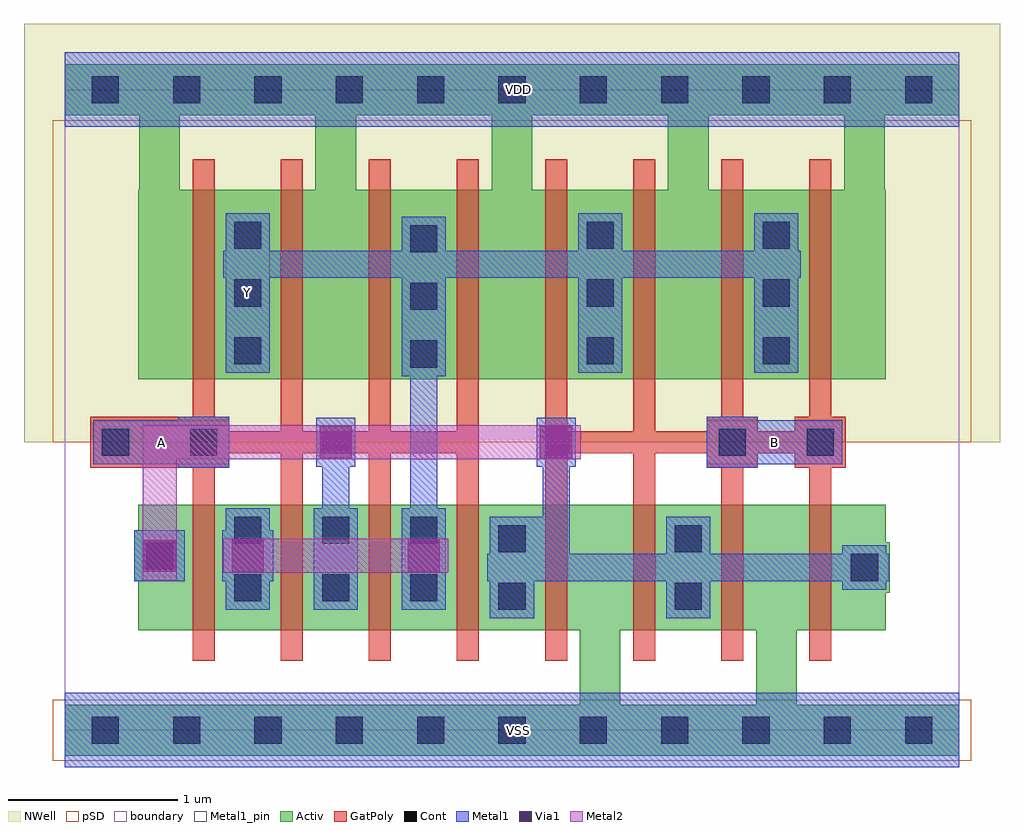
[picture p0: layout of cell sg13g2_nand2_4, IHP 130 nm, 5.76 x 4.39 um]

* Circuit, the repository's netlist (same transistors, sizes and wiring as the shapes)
.SUBCKT sg13g2_nand2_4 Y A B VDD VSS
*.PININFO A:I B:I Y:O VDD:B VSS:B
MP1 Y B VDD VDD sg13_lv_pmos w=4.48u l=130.00n ng=4
MP0 Y A VDD VDD sg13_lv_pmos w=4.48u l=130.00n ng=4
MN1 net1 B VSS VSS sg13_lv_nmos w=2.96u l=130.00n ng=4
MN0 Y A net1 VSS sg13_lv_nmos w=2.96u l=130.00n ng=4
.ENDS

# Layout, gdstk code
import gdstk
lib = gdstk.Library(unit=1e-6, precision=1e-09)
def R(c, l, rs):  # rectangles x0, y0, x1, y1
    for r in rs: c.add(gdstk.rectangle(r[:2], r[2:], *l))
def A(c, l, x, y, w, h, nx, ny, dx, dy):  # array of equal rectangles
    R(c, l, [(x+i*dx, y+j*dy, x+i*dx+w, y+j*dy+h) for i in range(nx) for j in range(ny)])
def P(c, l, *ps):  # polygons
    for p in ps: c.add(gdstk.Polygon(p, *l))
Activ = (1, 0)
GatPoly = (5, 0)
Cont = (6, 0)
Metal1 = (8, 0)
Metal1_pin = (8, 2)
Metal2 = (10, 0)
pSD = (14, 0)
Via1 = (19, 0)
NWell = (31, 0)
boundary = (189, 4)

sg13g2_nand2_4 = lib.new_cell('sg13g2_nand2_4')
P(sg13g2_nand2_4, Activ, [(3.04,0.15),(0,0.15),(0,-0.15),(5.28,-0.15),(5.28,0.15),(3.04,0.15),(3.28,0.15),(3.28,0.59),(4.08,0.59),(4.08,0.15),(4.32,0.15),(4.32,0.59),(4.845,0.59),(4.845,0.81),(4.87,0.81),(4.87,1.11),(4.845,1.11),(4.845,1.33),(0.435,1.33),(0.435,1.18),(0.41,1.18),(0.41,0.88),(0.435,0.88),(0.435,0.59),(3.04,0.59)],
  [(0.44,3.19),(0.68,3.19),(0.68,3.63),(1.48,3.63),(1.48,3.19),(1.72,3.19),(1.72,3.63),(2.52,3.63),(2.52,3.19),(2.76,3.19),(2.76,3.63),(3.56,3.63),(3.56,3.19),(3.8,3.19),(3.8,3.63),(4.6,3.63),(4.6,3.19),(4.84,3.19),(4.84,3.63),(5.28,3.63),(5.28,3.93),(0,3.93),(0,3.63),(0.44,3.63),(0.44,3.19),(0.435,3.19),(0.435,2.07),(4.845,2.07),(4.845,3.19)])
P(sg13g2_nand2_4, GatPoly, [(0.15,1.55),(0.755,1.55),(0.755,0.41),(0.885,0.41),(0.885,1.55),(0.97,1.55),(0.97,1.635),(1.275,1.635),(1.275,0.41),(1.405,0.41),(1.405,1.635),(1.795,1.635),(1.795,0.41),(1.925,0.41),(1.925,1.635),(2.315,1.635),(2.315,0.41),(2.445,0.41),(2.445,3.37),(2.315,3.37),(2.315,1.765),(1.925,1.765),(1.925,3.37),(1.795,3.37),(1.795,1.765),(1.405,1.765),(1.405,3.37),(1.275,3.37),(1.275,1.765),(0.97,1.765),(0.97,1.85),(0.885,1.85),(0.885,3.37),(0.755,3.37),(0.755,1.85),(0.15,1.85)],
  [(2.835,0.41),(2.965,0.41),(2.965,1.635),(3.355,1.635),(3.355,0.41),(3.485,0.41),(3.485,1.635),(3.79,1.635),(3.79,1.55),(3.875,1.55),(3.875,0.41),(4.005,0.41),(4.005,1.55),(4.09,1.55),(4.09,1.635),(4.31,1.635),(4.31,1.55),(4.395,1.55),(4.395,0.41),(4.525,0.41),(4.525,1.55),(4.61,1.55),(4.61,1.85),(4.525,1.85),(4.525,3.37),(4.395,3.37),(4.395,1.85),(4.31,1.85),(4.31,1.765),(4.09,1.765),(4.09,1.85),(4.005,1.85),(4.005,3.37),(3.875,3.37),(3.875,1.85),(3.79,1.85),(3.79,1.765),(3.485,1.765),(3.485,3.37),(3.355,3.37),(3.355,1.765),(2.965,1.765),(2.965,3.37),(2.835,3.37)])
A(sg13g2_nand2_4, Cont, 0.16, -0.08, 0.16, 0.16, 11, 2, 0.48, 3.78)
A(sg13g2_nand2_4, Cont, 1, 0.76, 0.16, 0.16, 3, 2, 0.52, 0.34)
A(sg13g2_nand2_4, Cont, 2.04, 2.14, 0.16, 0.16, 1, 3, 0, 0.34)
A(sg13g2_nand2_4, Cont, 1, 2.16, 0.16, 0.16, 1, 3, 0, 0.34)
A(sg13g2_nand2_4, Cont, 3.08, 2.16, 0.16, 0.16, 1, 3, 0, 0.34)
A(sg13g2_nand2_4, Cont, 4.12, 2.16, 0.16, 0.16, 1, 3, 0, 0.34)
R(sg13g2_nand2_4, Cont, [(2.56,0.71,2.72,0.87), (3.6,0.71,3.76,0.87), (4.64,0.88,4.8,1.04), (0.48,0.95,0.64,1.11), (2.56,1.05,2.72,1.21), (3.6,1.05,3.76,1.21), (0.22,1.62,0.38,1.78), (0.74,1.62,0.9,1.78), (3.86,1.62,4.02,1.78), (4.38,1.62,4.54,1.78)])
R(sg13g2_nand2_4, Metal1, [(0,-0.22,5.28,0.22), (0.41,0.88,0.71,1.18), (0,3.56,5.28,4)])
P(sg13g2_nand2_4, Metal1, [(0.17,1.57),(0.67,1.57),(0.67,1.55),(0.97,1.55),(0.97,1.85),(0.67,1.85),(0.67,1.83),(0.17,1.83)],
  [(0.93,0.88),(0.95,0.88),(0.95,0.71),(1.21,0.71),(1.21,0.88),(1.23,0.88),(1.23,1.18),(1.21,1.18),(1.21,1.31),(0.95,1.31),(0.95,1.18),(0.93,1.18)],
  [(0.935,2.67),(0.95,2.67),(0.95,2.11),(1.21,2.11),(1.21,2.67),(1.99,2.67),(1.99,2.09),(2.04,2.09),(2.04,1.31),(1.99,1.31),(1.99,0.71),(2.25,0.71),(2.25,1.31),(2.2,1.31),(2.2,2.09),(2.25,2.09),(2.25,2.67),(3.03,2.67),(3.03,2.11),(3.29,2.11),(3.29,2.67),(4.07,2.67),(4.07,2.11),(4.33,2.11),(4.33,2.67),(4.345,2.67),(4.345,2.83),(4.33,2.83),(4.33,3.05),(4.07,3.05),(4.07,2.83),(3.29,2.83),(3.29,3.05),(3.03,3.05),(3.03,2.83),(2.25,2.83),(2.25,3.03),(1.99,3.03),(1.99,2.83),(1.21,2.83),(1.21,3.05),(0.95,3.05),(0.95,2.83),(0.935,2.83)],
  [(1.47,0.71),(1.73,0.71),(1.73,1.31),(1.68,1.31),(1.68,1.555),(1.715,1.555),(1.715,1.845),(1.485,1.845),(1.485,1.555),(1.52,1.555),(1.52,1.31),(1.47,1.31)],
  [(2.495,0.88),(2.51,0.88),(2.51,0.66),(2.77,0.66),(2.77,0.88),(3.55,0.88),(3.55,0.66),(3.81,0.66),(3.81,0.88),(4.59,0.88),(4.59,0.83),(4.85,0.83),(4.85,0.88),(4.865,0.88),(4.865,1.04),(4.85,1.04),(4.85,1.09),(4.59,1.09),(4.59,1.04),(3.81,1.04),(3.81,1.26),(3.55,1.26),(3.55,1.04),(2.98,1.04),(2.98,1.555),(3.015,1.555),(3.015,1.845),(2.785,1.845),(2.785,1.555),(2.82,1.555),(2.82,1.26),(2.51,1.26),(2.51,1.04),(2.495,1.04)],
  [(3.79,1.55),(4.09,1.55),(4.09,1.57),(4.59,1.57),(4.59,1.83),(4.09,1.83),(4.09,1.85),(3.79,1.85)])
R(sg13g2_nand2_4, Metal1_pin, [(0,-0.22,5.28,0.22), (0.17,1.57,0.97,1.83), (3.79,1.57,4.59,1.83), (0.95,2.11,1.21,3.05), (0,3.56,5.28,4)])
R(sg13g2_nand2_4, Metal2, [(0.935,0.93,2.265,1.13)])
P(sg13g2_nand2_4, Metal2, [(0.46,0.885),(0.66,0.885),(0.66,1.6),(3.045,1.6),(3.045,1.8),(0.46,1.8)])
R(sg13g2_nand2_4, pSD, [(-0.07,-0.18,5.35,0.18), (-0.07,1.7,5.35,3.6)])
R(sg13g2_nand2_4, Via1, [(0.465,0.935,0.655,1.125), (0.985,0.935,1.175,1.125), (2.025,0.935,2.215,1.125), (1.505,1.605,1.695,1.795), (2.805,1.605,2.995,1.795)])
R(sg13g2_nand2_4, NWell, [(-0.24,1.7,5.52,4.17)])
R(sg13g2_nand2_4, boundary, [(0,0,5.28,3.78)])
sg13g2_nand2_4.add(gdstk.Label('A', (0.57,1.7), layer=8, texttype=25))
sg13g2_nand2_4.add(gdstk.Label('Y', (1.08,2.58), layer=8, texttype=25))
sg13g2_nand2_4.add(gdstk.Label('B', (4.19,1.7), layer=8, texttype=25))
sg13g2_nand2_4.add(gdstk.Label('VSS', (2.68,0), layer=8, texttype=25))
sg13g2_nand2_4.add(gdstk.Label('VDD', (2.68,3.78), layer=8, texttype=25))

lib.write_gds('sg13g2_nand2_4.gds')
